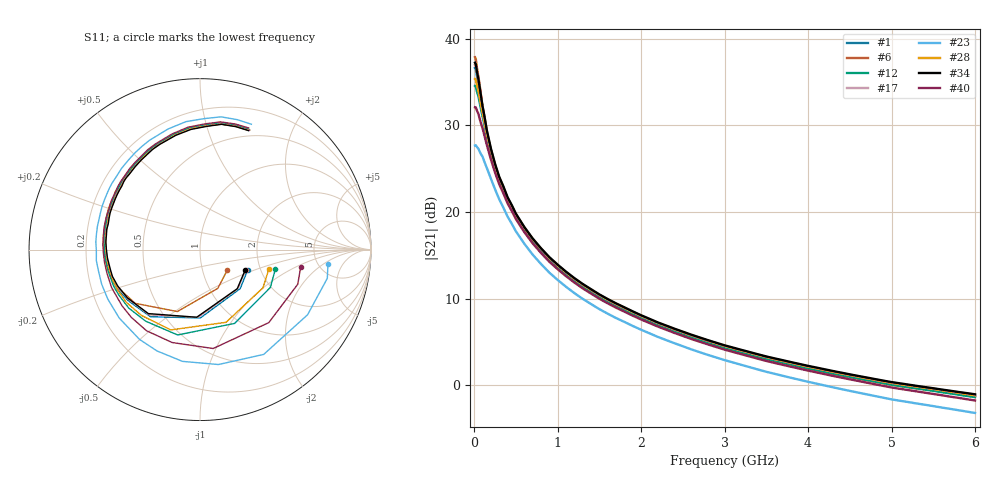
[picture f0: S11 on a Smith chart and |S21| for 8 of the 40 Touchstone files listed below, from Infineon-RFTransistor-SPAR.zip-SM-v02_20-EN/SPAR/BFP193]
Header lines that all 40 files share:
! Infineon Technologies  Discrete & RF Semiconductors
! BFP193
! Common Emitter S-Parameters:  Jan 2017
# GHz  S  MA  R  50
!  f  S11  S21  S12  S22
! GHz  MAG  ANG  MAG  ANG  MAG  ANG  MAG  ANG
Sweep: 10 MHz to 6 GHz
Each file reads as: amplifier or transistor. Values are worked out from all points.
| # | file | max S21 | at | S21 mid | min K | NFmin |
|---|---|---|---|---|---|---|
| 1 | BFP193_w_noise_VCE_6.0V_IC_40mA.s2p | 36.6 dB | 10 MHz | 7.1 dB at 2.2 GHz | 0.15 | 1.38 dB |
| 2 | BFP193_w_noise_VCE_6.0V_IC_45mA.s2p | 37.0 dB | 10 MHz | 7.1 dB at 2.2 GHz | 0.17 | 1.45 dB |
| 3 | BFP193_w_noise_VCE_6.0V_IC_48mA.s2p | 37.2 dB | 10 MHz | 7.0 dB at 2.2 GHz | 0.19 | 1.49 dB |
| 4 | BFP193_w_noise_VCE_6.0V_IC_50mA.s2p | 37.4 dB | 10 MHz | 7.0 dB at 2.2 GHz | 0.20 | 1.52 dB |
| 5 | BFP193_w_noise_VCE_6.0V_IC_55mA.s2p | 37.6 dB | 10 MHz | 7.0 dB at 2.2 GHz | 0.23 | 1.60 dB |
| 6 | BFP193_w_noise_VCE_6.0V_IC_60mA.s2p | 37.9 dB | 10 MHz | 6.9 dB at 2.2 GHz | 0.22 | 1.67 dB |
| 7 | BFP193_w_noise_VCE_7.0V_IC_5.0mA.s2p | 24.1 dB | 20 MHz | 4.3 dB at 2.2 GHz | -0.07 | 0.92 dB |
| 8 | BFP193_w_noise_VCE_7.0V_IC_8.0mA.s2p | 27.8 dB | 20 MHz | 5.5 dB at 2.2 GHz | -0.06 | 0.85 dB |
| 9 | BFP193_w_noise_VCE_7.0V_IC_10mA.s2p | 29.3 dB | 20 MHz | 5.9 dB at 2.2 GHz | 0.04 | 0.87 dB |
| 10 | BFP193_w_noise_VCE_7.0V_IC_16mA.s2p | 32.2 dB | 10 MHz | 6.6 dB at 2.2 GHz | 0.04 | 0.97 dB |
| 11 | BFP193_w_noise_VCE_7.0V_IC_20mA.s2p | 33.4 dB | 10 MHz | 6.8 dB at 2.2 GHz | 0.08 | 1.05 dB |
| 12 | BFP193_w_noise_VCE_7.0V_IC_25mA.s2p | 34.5 dB | 10 MHz | 7.0 dB at 2.2 GHz | 0.09 | 1.12 dB |
| 13 | BFP193_w_noise_VCE_7.0V_IC_30mA.s2p | 35.4 dB | 10 MHz | 7.1 dB at 2.2 GHz | 0.11 | 1.22 dB |
| 14 | BFP193_w_noise_VCE_7.0V_IC_32mA.s2p | 35.7 dB | 10 MHz | 7.1 dB at 2.2 GHz | 0.10 | 1.24 dB |
| 15 | BFP193_w_noise_VCE_7.0V_IC_35mA.s2p | 36.0 dB | 10 MHz | 7.2 dB at 2.2 GHz | 0.12 | 1.29 dB |
| 16 | BFP193_w_noise_VCE_7.0V_IC_40mA.s2p | 36.6 dB | 10 MHz | 7.2 dB at 2.2 GHz | 0.16 | 1.38 dB |
| 17 | BFP193_w_noise_VCE_7.0V_IC_45mA.s2p | 37.0 dB | 10 MHz | 7.2 dB at 2.2 GHz | 0.15 | 1.45 dB |
| 18 | BFP193_w_noise_VCE_7.0V_IC_48mA.s2p | 37.2 dB | 10 MHz | 7.2 dB at 2.2 GHz | 0.19 | 1.49 dB |
| 19 | BFP193_w_noise_VCE_7.0V_IC_50mA.s2p | 37.3 dB | 10 MHz | 7.2 dB at 2.2 GHz | 0.16 | 1.52 dB |
| 20 | BFP193_w_noise_VCE_7.0V_IC_55mA.s2p | 37.6 dB | 10 MHz | 7.1 dB at 2.2 GHz | 0.21 | 1.60 dB |
| 21 | BFP193_w_noise_VCE_7.0V_IC_60mA.s2p | 37.8 dB | 10 MHz | 7.1 dB at 2.2 GHz | 0.20 | 1.67 dB |
| 22 | BFP193_w_noise_VCE_8.0V_IC_5.0mA.s2p | 24.1 dB | 20 MHz | 4.4 dB at 2.2 GHz | 0.00 | 0.92 dB |
| 23 | BFP193_w_noise_VCE_8.0V_IC_8.0mA.s2p | 27.7 dB | 20 MHz | 5.6 dB at 2.2 GHz | -0.01 | 0.85 dB |
| 24 | BFP193_w_noise_VCE_8.0V_IC_10mA.s2p | 29.2 dB | 20 MHz | 6.0 dB at 2.2 GHz | -0.06 | 0.87 dB |
| 25 | BFP193_w_noise_VCE_8.0V_IC_16mA.s2p | 32.1 dB | 10 MHz | 6.7 dB at 2.2 GHz | -0.01 | 0.97 dB |
| 26 | BFP193_w_noise_VCE_8.0V_IC_20mA.s2p | 33.4 dB | 10 MHz | 6.9 dB at 2.2 GHz | 0.05 | 1.05 dB |
| 27 | BFP193_w_noise_VCE_8.0V_IC_25mA.s2p | 34.5 dB | 10 MHz | 7.1 dB at 2.2 GHz | 0.05 | 1.12 dB |
| 28 | BFP193_w_noise_VCE_8.0V_IC_30mA.s2p | 35.3 dB | 10 MHz | 7.2 dB at 2.2 GHz | 0.16 | 1.22 dB |
| 29 | BFP193_w_noise_VCE_8.0V_IC_32mA.s2p | 35.6 dB | 10 MHz | 7.2 dB at 2.2 GHz | 0.09 | 1.24 dB |
| 30 | BFP193_w_noise_VCE_8.0V_IC_35mA.s2p | 36.0 dB | 10 MHz | 7.3 dB at 2.2 GHz | 0.11 | 1.29 dB |
| 31 | BFP193_w_noise_VCE_8.0V_IC_40mA.s2p | 36.5 dB | 10 MHz | 7.3 dB at 2.2 GHz | 0.11 | 1.38 dB |
| 32 | BFP193_w_noise_VCE_8.0V_IC_45mA.s2p | 36.9 dB | 10 MHz | 7.3 dB at 2.2 GHz | 0.17 | 1.45 dB |
| 33 | BFP193_w_noise_VCE_8.0V_IC_48mA.s2p | 37.1 dB | 10 MHz | 7.3 dB at 2.2 GHz | 0.17 | 1.49 dB |
| 34 | BFP193_w_noise_VCE_8.0V_IC_50mA.s2p | 37.2 dB | 10 MHz | 7.3 dB at 2.2 GHz | 0.18 | 1.52 dB |
| 35 | BFP193_w_noise_VCE_8.0V_IC_55mA.s2p | 37.5 dB | 10 MHz | 7.2 dB at 2.2 GHz | 0.20 | 1.60 dB |
| 36 | BFP193_w_noise_VCE_8.0V_IC_60mA.s2p | 37.7 dB | 10 MHz | 7.1 dB at 2.2 GHz | 0.19 | 1.67 dB |
| 37 | BFP193_w_noise_VCE_9.0V_IC_5.0mA.s2p | 24.1 dB | 20 MHz | 4.5 dB at 2.2 GHz | -0.03 | 0.92 dB |
| 38 | BFP193_w_noise_VCE_9.0V_IC_8.0mA.s2p | 27.7 dB | 20 MHz | 5.7 dB at 2.2 GHz | -0.04 | 0.85 dB |
| 39 | BFP193_w_noise_VCE_9.0V_IC_10mA.s2p | 29.2 dB | 20 MHz | 6.1 dB at 2.2 GHz | 0.02 | 0.87 dB |
| 40 | BFP193_w_noise_VCE_9.0V_IC_16mA.s2p | 32.1 dB | 10 MHz | 6.8 dB at 2.2 GHz | 0.00 | 0.97 dB |

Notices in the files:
Hoja de datos/BFP 450/Infineon-RFTransistor-SPAR.zip-SM-v02_20-EN/SPAR/BFP193/BFP193_w_noise_VCE_6.0V_IC_40mA.s2p:
(c) 2017  Infineon Technologies AG, Munich
